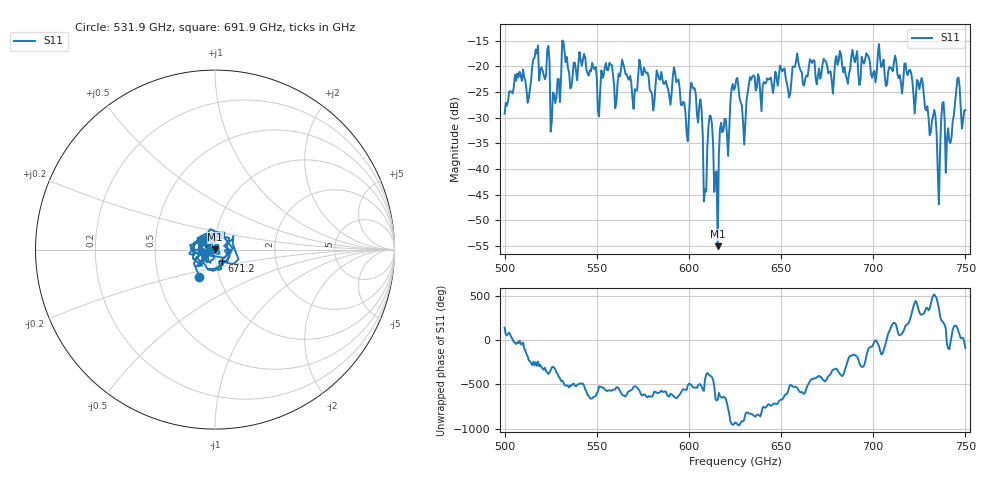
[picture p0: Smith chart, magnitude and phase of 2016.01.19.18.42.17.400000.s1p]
!Created with skrf (http://scikit-rf.org).
# GHz S RI R 50.0
!freq ReS11 ImS11
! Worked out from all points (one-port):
!   401 points, 500 GHz to 750 GHz, reference 50 ohm
!   lowest |S11| = -55.1 dB at 615.6 GHz (marker M1), VSWR 1.00, Z = 50.1 + j0.128 ohm
!   |S11| at or under -10 dB: start of sweep to end of sweep
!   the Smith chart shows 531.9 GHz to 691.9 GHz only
!   S11 on the Smith chart (normalised r, x): 531.9 GHz: 0.81, -0.25; 671.2 GHz: 1.07, -0.14; 691.9 GHz: 0.87, +0.09
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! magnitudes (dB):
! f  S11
! 500 GHz  -29.2
! 513.1 GHz  -26.2
! 516.9 GHz  -16.7
! 523.1 GHz  -16.8
! 526.2 GHz  -25.1
! 531.2 GHz  -14.9
! 531.9 GHz  -15.1
! 551.2 GHz  -29.7
! 562.5 GHz  -22.0
! 593.8 GHz  -22.8
! 598.8 GHz  -32.9
! 602.5 GHz  -24.4
! 608.8 GHz  -44.0
! 611.9 GHz  -29.8
! 614.4 GHz  -40.8
! 615.6 GHz  -55.1
! 625 GHz  -24.1
! 629.4 GHz  -30.9
! 634.4 GHz  -22.0
! 656.2 GHz  -20.0
! 671.2 GHz  -22.4
! 687.5 GHz  -20.5
! 691.9 GHz  -21.4
! 718.8 GHz  -21.7
! 733.1 GHz  -28.5
! 735 GHz  -40.4
! 745.6 GHz  -22.4
! 750 GHz  -28.5
